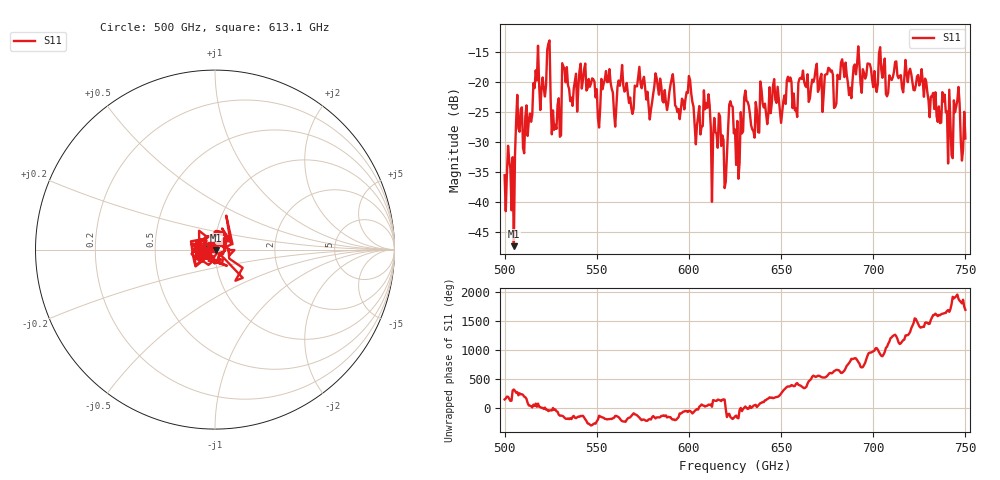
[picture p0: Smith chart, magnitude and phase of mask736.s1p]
!Created with skrf (http://scikit-rf.org).
# GHz S MA R 50.0
!freq magS11 angS11
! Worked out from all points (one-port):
!   401 points, 500 GHz to 750 GHz, reference 50 ohm
!   lowest |S11| = -47.4 dB at 505 GHz (marker M1), VSWR 1.01, Z = 50.3 - j0.306 ohm
!   |S11| at or under -10 dB: start of sweep to end of sweep
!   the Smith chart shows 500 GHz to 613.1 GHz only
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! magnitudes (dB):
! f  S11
! 500 GHz  -35.6
! 505 GHz  -47.4
! 507.5 GHz  -27.8
! 513.8 GHz  -25.3
! 516.9 GHz  -18.1
! 523.8 GHz  -13.7
! 526.9 GHz  -28.0
! 531.2 GHz  -16.9
! 542.5 GHz  -19.7
! 550.6 GHz  -26.1
! 555.6 GHz  -20.1
! 559.4 GHz  -25.2
! 562.5 GHz  -20.7
! 593.8 GHz  -25.1
! 609.4 GHz  -23.6
! 619.4 GHz  -37.8
! 622.5 GHz  -23.3
! 625 GHz  -28.0
! 628.1 GHz  -25.1
! 631.2 GHz  -23.2
! 634.4 GHz  -28.0
! 656.2 GHz  -24.4
! 687.5 GHz  -21.0
! 691.2 GHz  -17.0
! 718.8 GHz  -20.1
! 741.9 GHz  -26.7
! 745.6 GHz  -23.2
! 750 GHz  -29.5
